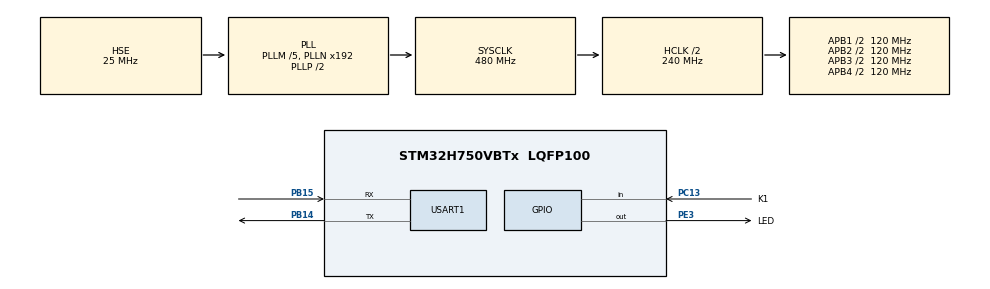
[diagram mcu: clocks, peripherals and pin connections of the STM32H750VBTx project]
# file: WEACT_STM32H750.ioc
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Mcu.Family=STM32H7
Mcu.Name=STM32H750VBTx
Mcu.Package=LQFP100
NVIC.PriorityGroup=NVIC_PRIORITYGROUP_4
NVIC.USART1_IRQn=true\:0\:0\:false\:false\:true\:true\:true
PA13\ (JTMS/SWDIO).Mode=Serial_Wire
PA13\ (JTMS/SWDIO).Signal=DEBUG_JTMS-SWDIO
PA14\ (JTCK/SWCLK).Mode=Serial_Wire
PA14\ (JTCK/SWCLK).Signal=DEBUG_JTCK-SWCLK
PB14.Mode=Asynchronous
PB14.Signal=USART1_TX
PB15.Mode=Asynchronous
PB15.Signal=USART1_RX
PC13.GPIO_Label=K1
PC13.GPIO_PuPd=GPIO_PULLDOWN
PC13.Signal=GPIO_Input
PC14-OSC32_IN\ (OSC32_IN).Mode=LSE-External-Oscillator
PC14-OSC32_IN\ (OSC32_IN).Signal=RCC_OSC32_IN
PC15-OSC32_OUT\ (OSC32_OUT).Mode=LSE-External-Oscillator
PC15-OSC32_OUT\ (OSC32_OUT).Signal=RCC_OSC32_OUT
PE3.GPIO_Label=LED
PE3.GPIO_Speed=GPIO_SPEED_FREQ_VERY_HIGH
PE3.Signal=GPIO_Output
PH0-OSC_IN\ (PH0).Mode=HSE-External-Oscillator
PH0-OSC_IN\ (PH0).Signal=RCC_OSC_IN
PH1-OSC_OUT\ (PH1).Mode=HSE-External-Oscillator
PH1-OSC_OUT\ (PH1).Signal=RCC_OSC_OUT
ProjectManager.HeapSize=0x200
ProjectManager.StackSize=0x400
ProjectManager.TargetToolchain=MDK-ARM V5.27
RCC.ADCFreq_Value=50390625
RCC.APB1Freq_Value=120000000
RCC.APB2Freq_Value=120000000
RCC.APB3Freq_Value=120000000
RCC.APB4Freq_Value=120000000
RCC.CortexFreq_Value=480000000
RCC.D1PPRE=RCC_APB3_DIV2
RCC.D2PPRE1=RCC_APB1_DIV2
RCC.D2PPRE2=RCC_APB2_DIV2
RCC.D3PPRE=RCC_APB4_DIV2
RCC.DIVM1=5
RCC.DIVN1=192
RCC.HCLKFreq_Value=240000000
RCC.HPRE=RCC_HCLK_DIV2
RCC.PLL2FRACN=0
RCC.PLL3FRACN=0
RCC.PLLFRACN=0
RCC.PLLSourceVirtual=RCC_PLLSOURCE_HSE
RCC.SYSCLKFreq_VALUE=480000000
RCC.SYSCLKSource=RCC_SYSCLKSOURCE_PLLCLK
RCC.USBFreq_Value=480000000
USART1.VirtualMode-Asynchronous=VM_ASYNC
board=custom

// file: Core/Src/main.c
/* USER CODE BEGIN Header */
/**
  ******************************************************************************
  * @file           : main.c
  * @brief          : Main program body
  ******************************************************************************
  * @attention
  *
  * <h2><center>&copy; Copyright (c) 2021 STMicroelectronics.
  * All rights reserved.</center></h2>
  *
  * This software component is licensed by ST under BSD 3-Clause license,
  * the "License"; You may not use this file except in compliance with the
  * License. You may obtain a copy of the License at:
  *                        opensource.org/licenses/BSD-3-Clause
  *
  ******************************************************************************
  */
/* USER CODE END Header */
#include "main.h"

/* USER CODE BEGIN Includes */
#include "stdio.h"
#include <xd_k.h>
#include "uart.h"
#include "shell_port.h"
/* USER CODE END Includes */

UART_HandleTypeDef huart1;

void SystemClock_Config(void);
static void MX_GPIO_Init(void);
static void MX_USART1_UART_Init(void);

/* USER CODE BEGIN 0 */
struct xd_task xd_led_task;
ALIGN(XD_ALIGN_SIZE)
xd_uint8_t xd_led_task_stack[512];

void led_task_entry(void *p_arg)
{
	for(;;)
	{
		xd_scheduler();
		// xd_printf("task 1 running\r\n");
		HAL_GPIO_WritePin(LED_GPIO_Port, LED_Pin, GPIO_PIN_RESET);
		xd_task_delay(100);
		HAL_GPIO_WritePin(LED_GPIO_Port, LED_Pin, GPIO_PIN_SET);
		xd_task_delay(100);
	}
}
/* USER CODE END 0 */

int main(void)
{

  /* MCU Configuration--------------------------------------------------------*/

  /* Reset of all peripherals, Initializes the Flash interface and the Systick. */
  HAL_Init();

  /* Configure the system clock */
  SystemClock_Config();

  /* Initialize all configured peripherals */
  MX_GPIO_Init();
  MX_USART1_UART_Init();
  /* USER CODE BEGIN 2 */
  xd_uint8_t tempbuf = 0;
	HAL_UART_Receive_IT(&huart1, &tempbuf, 1); //打开串口中断接收
	xd_interrupt_disable();
	SysTick_Config(SystemCoreClock / XD_TICK_PER_SECOND);
	xd_system_scheduler_init();
	xd_task_idle_init();
  xd_show_version();
   userShellInit();

	xd_task_init( 1,
                &xd_led_task,
                led_task_entry,
                XD_NULL,
                &xd_led_task_stack[0],
                sizeof(xd_led_task_stack),
                1
                );
	xd_task_startup(&xd_led_task);

    xd_system_scheduler_start();
  /* USER CODE END 2 */

  /* Infinite loop */
  while (1)
  {

  }
}

void SystemClock_Config(void)
{
  RCC_OscInitTypeDef RCC_OscInitStruct = {0};
  RCC_ClkInitTypeDef RCC_ClkInitStruct = {0};
  RCC_PeriphCLKInitTypeDef PeriphClkInitStruct = {0};

  /** Supply configuration update enable
  */
  HAL_PWREx_ConfigSupply(PWR_LDO_SUPPLY);
  /** Configure the main internal regulator output voltage
  */
  __HAL_PWR_VOLTAGESCALING_CONFIG(PWR_REGULATOR_VOLTAGE_SCALE0);

  while(!__HAL_PWR_GET_FLAG(PWR_FLAG_VOSRDY)) {}
  /** Initializes the RCC Oscillators according to the specified parameters
  * in the RCC_OscInitTypeDef structure.
  */
  RCC_OscInitStruct.OscillatorType = RCC_OSCILLATORTYPE_HSE;
  RCC_OscInitStruct.HSEState = RCC_HSE_ON;
  RCC_OscInitStruct.PLL.PLLState = RCC_PLL_ON;
  RCC_OscInitStruct.PLL.PLLSource = RCC_PLLSOURCE_HSE;
  RCC_OscInitStruct.PLL.PLLM = 5;
  RCC_OscInitStruct.PLL.PLLN = 192;
  RCC_OscInitStruct.PLL.PLLP = 2;
  RCC_OscInitStruct.PLL.PLLQ = 2;
  RCC_OscInitStruct.PLL.PLLR = 2;
  RCC_OscInitStruct.PLL.PLLRGE = RCC_PLL1VCIRANGE_2;
  RCC_OscInitStruct.PLL.PLLVCOSEL = RCC_PLL1VCOWIDE;
  RCC_OscInitStruct.PLL.PLLFRACN = 0;
  if (HAL_RCC_OscConfig(&RCC_OscInitStruct) != HAL_OK)
  {
    Error_Handler();
  }
  /** Initializes the CPU, AHB and APB buses clocks
  */
  RCC_ClkInitStruct.ClockType = RCC_CLOCKTYPE_HCLK|RCC_CLOCKTYPE_SYSCLK
                              |RCC_CLOCKTYPE_PCLK1|RCC_CLOCKTYPE_PCLK2
                              |RCC_CLOCKTYPE_D3PCLK1|RCC_CLOCKTYPE_D1PCLK1;
  RCC_ClkInitStruct.SYSCLKSource = RCC_SYSCLKSOURCE_PLLCLK;
  RCC_ClkInitStruct.SYSCLKDivider = RCC_SYSCLK_DIV1;
  RCC_ClkInitStruct.AHBCLKDivider = RCC_HCLK_DIV2;
  RCC_ClkInitStruct.APB3CLKDivider = RCC_APB3_DIV2;
  RCC_ClkInitStruct.APB1CLKDivider = RCC_APB1_DIV2;
  RCC_ClkInitStruct.APB2CLKDivider = RCC_APB2_DIV2;
  RCC_ClkInitStruct.APB4CLKDivider = RCC_APB4_DIV2;

  if (HAL_RCC_ClockConfig(&RCC_ClkInitStruct, FLASH_LATENCY_4) != HAL_OK)
  {
    Error_Handler();
  }
  PeriphClkInitStruct.PeriphClockSelection = RCC_PERIPHCLK_USART1;
  PeriphClkInitStruct.Usart16ClockSelection = RCC_USART16CLKSOURCE_D2PCLK2;
  if (HAL_RCCEx_PeriphCLKConfig(&PeriphClkInitStruct) != HAL_OK)
  {
    Error_Handler();
  }
}

static void MX_USART1_UART_Init(void)
{

  huart1.Instance = USART1;
  huart1.Init.BaudRate = 115200;
  huart1.Init.WordLength = UART_WORDLENGTH_8B;
  huart1.Init.StopBits = UART_STOPBITS_1;
  huart1.Init.Parity = UART_PARITY_NONE;
  huart1.Init.Mode = UART_MODE_TX_RX;
  huart1.Init.HwFlowCtl = UART_HWCONTROL_NONE;
  huart1.Init.OverSampling = UART_OVERSAMPLING_16;
  huart1.Init.OneBitSampling = UART_ONE_BIT_SAMPLE_DISABLE;
  huart1.Init.ClockPrescaler = UART_PRESCALER_DIV1;
  huart1.AdvancedInit.AdvFeatureInit = UART_ADVFEATURE_NO_INIT;
  if (HAL_UART_Init(&huart1) != HAL_OK)
  {
    Error_Handler();
  }
  if (HAL_UARTEx_SetTxFifoThreshold(&huart1, UART_TXFIFO_THRESHOLD_1_8) != HAL_OK)
  {
    Error_Handler();
  }
  if (HAL_UARTEx_SetRxFifoThreshold(&huart1, UART_RXFIFO_THRESHOLD_1_8) != HAL_OK)
  {
    Error_Handler();
  }
  if (HAL_UARTEx_DisableFifoMode(&huart1) != HAL_OK)
  {
    Error_Handler();
  }

}

static void MX_GPIO_Init(void)
{
  GPIO_InitTypeDef GPIO_InitStruct = {0};

  /* GPIO Ports Clock Enable */
  __HAL_RCC_GPIOE_CLK_ENABLE();
  __HAL_RCC_GPIOC_CLK_ENABLE();
  __HAL_RCC_GPIOH_CLK_ENABLE();
  __HAL_RCC_GPIOB_CLK_ENABLE();
  __HAL_RCC_GPIOA_CLK_ENABLE();

  /*Configure GPIO pin Output Level */
  HAL_GPIO_WritePin(LED_GPIO_Port, LED_Pin, GPIO_PIN_RESET);

  /*Configure GPIO pin : LED_Pin */
  GPIO_InitStruct.Pin = LED_Pin;
  GPIO_InitStruct.Mode = GPIO_MODE_OUTPUT_PP;
  GPIO_InitStruct.Pull = GPIO_NOPULL;
  GPIO_InitStruct.Speed = GPIO_SPEED_FREQ_VERY_HIGH;
  HAL_GPIO_Init(LED_GPIO_Port, &GPIO_InitStruct);

  /*Configure GPIO pin : K1_Pin */
  GPIO_InitStruct.Pin = K1_Pin;
  GPIO_InitStruct.Mode = GPIO_MODE_INPUT;
  GPIO_InitStruct.Pull = GPIO_PULLDOWN;
  HAL_GPIO_Init(K1_GPIO_Port, &GPIO_InitStruct);

}

void Error_Handler(void)
{
}

/************************ (C) COPYRIGHT STMicroelectronics *****END OF FILE****/
